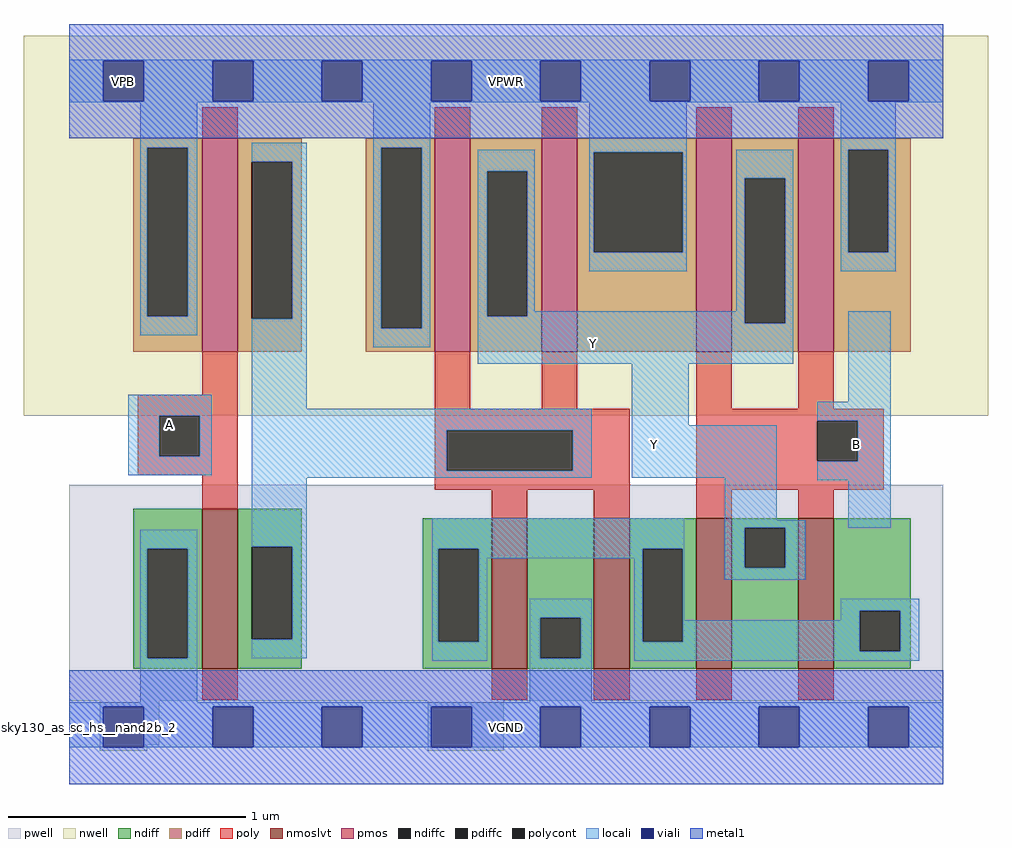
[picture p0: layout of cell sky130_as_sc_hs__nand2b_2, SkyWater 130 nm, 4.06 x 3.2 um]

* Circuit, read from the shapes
.subckt sky130_as_sc_hs__nand2b_2 VNB VPB VGND VPWR B Y A
XM1 n1 A VGND VNB sky130_fd_pr__nfet_01v8_lvt w=0.675 l=0.15
XM2 VGND n1 n2 VNB sky130_fd_pr__nfet_01v8_lvt w=0.635 l=0.15 m=2
XM3 Y B n2 VNB sky130_fd_pr__nfet_01v8_lvt w=0.635 l=0.15 m=2
XM4 n1 A VPWR VPB sky130_fd_pr__pfet_01v8 w=0.9 l=0.15
XM5 Y n1 VPWR VPB sky130_fd_pr__pfet_01v8 w=0.9 l=0.15 m=2
XM6 Y B VPWR VPB sky130_fd_pr__pfet_01v8 w=0.9 l=0.15 m=2
.ends

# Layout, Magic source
magic
tech sky130A
magscale 1 2
<< nwell >>
rect -38 262 774 582
<< pwell >>
rect 0 22 736 204
rect 26 -15 76 22
rect 26 -20 66 -15
rect 302 -20 366 22
<< pmos >>
rect 112 316 142 496
rect 308 316 338 496
rect 398 316 428 496
rect 528 316 558 496
rect 614 316 644 496
<< nmoslvt >>
rect 112 49 142 184
rect 356 49 386 176
rect 442 49 472 176
rect 528 49 558 176
rect 614 49 644 176
<< ndiff >>
rect 54 150 112 184
rect 54 58 66 150
rect 100 58 112 150
rect 54 49 112 58
rect 142 152 196 184
rect 142 74 154 152
rect 188 74 196 152
rect 142 49 196 74
rect 298 150 356 176
rect 298 72 311 150
rect 345 72 356 150
rect 298 49 356 72
rect 386 92 442 176
rect 386 58 397 92
rect 431 58 442 92
rect 386 49 442 58
rect 472 150 528 176
rect 472 72 483 150
rect 517 72 528 150
rect 472 49 528 72
rect 558 168 614 176
rect 558 134 569 168
rect 603 134 614 168
rect 558 49 614 134
rect 644 98 709 176
rect 644 64 666 98
rect 700 64 709 98
rect 644 49 709 64
<< pdiff >>
rect 54 488 112 496
rect 54 346 66 488
rect 100 346 112 488
rect 54 316 112 346
rect 142 476 196 496
rect 142 344 154 476
rect 188 344 196 476
rect 142 316 196 344
rect 250 488 308 496
rect 250 336 263 488
rect 297 336 308 488
rect 250 316 308 336
rect 338 468 398 496
rect 338 346 352 468
rect 386 346 398 468
rect 338 316 398 346
rect 428 484 528 496
rect 428 400 442 484
rect 517 400 528 484
rect 428 316 528 400
rect 558 462 614 496
rect 558 340 569 462
rect 603 340 614 462
rect 558 316 614 340
rect 644 486 709 496
rect 644 400 656 486
rect 690 400 709 486
rect 644 316 709 400
<< ndiffc >>
rect 66 58 100 150
rect 154 74 188 152
rect 311 72 345 150
rect 397 58 431 92
rect 483 72 517 150
rect 569 134 603 168
rect 666 64 700 98
<< pdiffc >>
rect 66 346 100 488
rect 154 344 188 476
rect 263 336 297 488
rect 352 346 386 468
rect 442 400 517 484
rect 569 340 603 462
rect 656 400 690 486
<< poly >>
rect 112 496 142 522
rect 308 496 338 522
rect 398 496 428 522
rect 528 496 558 522
rect 614 496 644 522
rect 112 280 142 316
rect 58 262 142 280
rect 58 228 76 262
rect 110 228 142 262
rect 58 212 142 228
rect 112 184 142 212
rect 308 268 338 316
rect 398 268 428 316
rect 528 268 558 316
rect 614 268 644 316
rect 308 250 472 268
rect 308 216 318 250
rect 424 216 472 250
rect 308 200 472 216
rect 356 176 386 200
rect 442 176 472 200
rect 528 258 686 268
rect 528 224 630 258
rect 664 224 686 258
rect 528 200 686 224
rect 528 176 558 200
rect 614 176 644 200
rect 112 23 142 49
rect 356 23 386 49
rect 442 23 472 49
rect 528 23 558 49
rect 614 23 644 49
<< polycont >>
rect 76 228 110 262
rect 318 216 424 250
rect 630 224 664 258
<< locali >>
rect 0 561 736 562
rect 0 527 29 561
rect 63 527 121 561
rect 155 527 213 561
rect 247 527 305 561
rect 339 527 397 561
rect 431 527 489 561
rect 523 527 581 561
rect 615 527 673 561
rect 707 527 736 561
rect 0 526 736 527
rect 60 488 108 526
rect 60 346 66 488
rect 100 346 108 488
rect 60 330 108 346
rect 154 476 200 492
rect 188 344 200 476
rect 50 262 120 280
rect 50 228 76 262
rect 110 228 120 262
rect 50 212 120 228
rect 154 268 200 344
rect 256 488 304 526
rect 256 336 263 488
rect 297 336 304 488
rect 256 320 304 336
rect 344 468 392 486
rect 344 346 352 468
rect 386 350 392 468
rect 438 484 520 526
rect 650 486 696 526
rect 438 400 442 484
rect 517 400 520 484
rect 438 384 520 400
rect 562 462 610 486
rect 562 350 569 462
rect 386 346 569 350
rect 344 340 569 346
rect 603 340 610 462
rect 650 400 656 486
rect 690 400 696 486
rect 650 384 696 400
rect 344 306 610 340
rect 154 250 440 268
rect 154 216 318 250
rect 424 216 440 250
rect 154 210 440 216
rect 474 254 522 306
rect 656 274 692 350
rect 630 258 692 274
rect 474 210 596 254
rect 60 150 108 166
rect 60 58 66 150
rect 100 58 108 150
rect 154 152 200 210
rect 188 74 200 152
rect 154 58 200 74
rect 306 150 518 176
rect 306 72 311 150
rect 345 142 483 150
rect 345 72 352 142
rect 60 21 108 58
rect 306 56 352 72
rect 388 92 440 108
rect 388 58 397 92
rect 431 58 440 92
rect 388 21 440 58
rect 476 72 483 142
rect 517 90 518 150
rect 552 174 596 210
rect 664 224 692 258
rect 630 208 692 224
rect 552 168 620 174
rect 656 168 692 208
rect 552 134 569 168
rect 603 134 620 168
rect 552 124 620 134
rect 650 98 716 108
rect 650 90 666 98
rect 517 72 666 90
rect 476 64 666 72
rect 700 64 716 98
rect 476 56 716 64
rect 0 17 736 21
rect 0 -17 29 17
rect 63 -17 121 17
rect 155 -17 213 17
rect 247 -17 305 17
rect 339 -17 397 17
rect 431 -17 489 17
rect 523 -17 581 17
rect 615 -17 673 17
rect 707 -17 736 17
<< viali >>
rect 29 527 63 561
rect 121 527 155 561
rect 213 527 247 561
rect 305 527 339 561
rect 397 527 431 561
rect 489 527 523 561
rect 581 527 615 561
rect 673 527 707 561
rect 29 -17 63 17
rect 121 -17 155 17
rect 213 -17 247 17
rect 305 -17 339 17
rect 397 -17 431 17
rect 489 -17 523 17
rect 581 -17 615 17
rect 673 -17 707 17
<< metal1 >>
rect 0 561 736 592
rect 0 527 29 561
rect 63 527 121 561
rect 155 527 213 561
rect 247 527 305 561
rect 339 527 397 561
rect 431 527 489 561
rect 523 527 581 561
rect 615 527 673 561
rect 707 527 736 561
rect 0 496 736 527
rect 0 17 736 48
rect 0 -17 29 17
rect 63 -17 121 17
rect 155 -17 213 17
rect 247 -17 305 17
rect 339 -17 397 17
rect 431 -17 489 17
rect 523 -17 581 17
rect 615 -17 673 17
rect 707 -17 736 17
rect 0 -48 736 -17
<< labels >>
rlabel comment s 0 0 0 0 4 sky130_as_sc_hs__nand2b_2
flabel pwell s 29 -17 63 17 0 FreeSans 200 0 0 0 VNB
port 1 nsew ground bidirectional
flabel pwell s 46 0 46 0 0 FreeSans 200 0 0 0 VNB
flabel nwell s 29 527 63 561 0 FreeSans 200 0 0 0 VPB
port 2 nsew power bidirectional
flabel nwell s 46 544 46 544 0 FreeSans 200 0 0 0 VPB
flabel metal1 s 29 527 63 561 0 FreeSans 200 0 0 0 VPWR
port 4 nsew power bidirectional abutment
rlabel metal1 s 0 496 736 592 1 VPWR
port 4 nsew power bidirectional abutment
rlabel metal1 s 0 -48 736 48 1 VGND
port 3 nsew ground bidirectional abutment
flabel metal1 s 29 -17 63 17 0 FreeSans 200 0 0 0 VGND
port 3 nsew ground bidirectional abutment
flabel locali s 646 221 680 255 0 FreeSans 200 0 0 0 B
port 5 nsew signal input
flabel locali s 663 238 663 238 0 FreeSans 200 0 0 0 B
flabel locali s 476 221 510 255 0 FreeSans 200 0 0 0 Y
port 6 nsew signal output
flabel locali s 493 238 493 238 0 FreeSans 200 0 0 0 Y
flabel locali s 425 306 459 340 0 FreeSans 200 0 0 0 Y
port 6 nsew signal output
flabel locali s 442 323 442 323 0 FreeSans 200 0 0 0 Y
flabel locali s 68 238 102 272 0 FreeSans 200 0 0 0 A
port 7 nsew signal input
flabel locali 85 255 85 255 0 FreeSans 200 0 0 0 A
<< properties >>
string FIXED_BBOX 0 0 736 544
string GDS_FILE $PDKPATH/libs.ref/sky130_as_sc_hs/gds/sky130_as_sc_hs__nand2b_2.gds
string LEFclass CORE
string LEFsite unithd
string LEFsymmetry X Y R90
string MASKHINTS_LVTN 0 -4 736 220
string MASKHINTS_NSDM 0 -38 736 209
string MASKHINTS_PSDM 0 291 736 582
<< end >>
